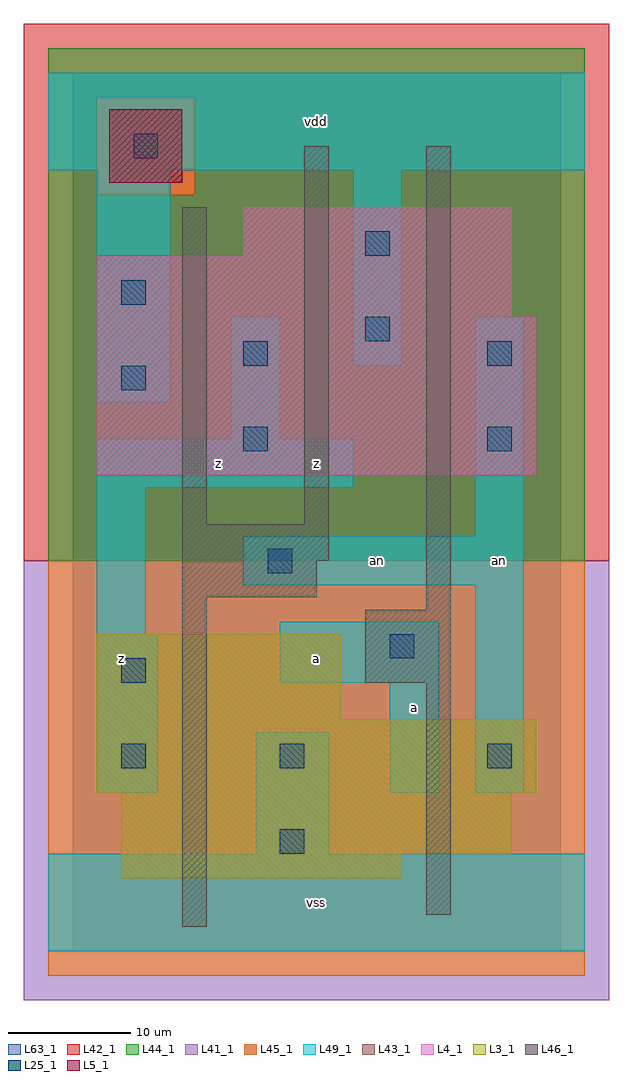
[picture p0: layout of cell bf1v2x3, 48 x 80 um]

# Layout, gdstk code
import gdstk
lib = gdstk.Library(unit=1e-6, precision=1e-09)
def R(c, l, rs):  # rectangles x0, y0, x1, y1
    for r in rs: c.add(gdstk.rectangle(r[:2], r[2:], *l))
L3_1 = (3, 1)
L4_1 = (4, 1)
L5_1 = (5, 1)
L25_1 = (25, 1)
L41_1 = (41, 1)
L42_1 = (42, 1)
L43_1 = (43, 1)
L44_1 = (44, 1)
L45_1 = (45, 1)
L46_1 = (46, 1)
L49_1 = (49, 1)
L63_1 = (63, 1)

bf1v2x3 = lib.new_cell('bf1v2x3')
R(bf1v2x3, L3_1, [(4,6,27,8), (4,8,36,13), (2,13,38,19), (2,19,22,26)])
R(bf1v2x3, L4_1, [(2,39,38,52), (2,52,36,57), (14,57,36,61)])
R(bf1v2x3, L5_1, [(3,63,9,69)])
R(bf1v2x3, L25_1, [(17,8,19,10), (4,15,6,17), (17,15,19,17), (34,15,36,17), (4,22,6,24), (26,24,28,26), (16,31,18,33), (14,41,16,43), (34,41,36,43), (4,46,6,48), (14,48,16,50), (34,48,36,50), (24,50,26,52), (4,53,6,55), (24,57,26,59), (5,65,7,67)])
R(bf1v2x3, L41_1, [(-4,-4,44,32)])
R(bf1v2x3, L42_1, [(-4,32,44,76)])
R(bf1v2x3, L43_1, [(4,6,27,8), (4,8,36,13), (2,13,38,19), (2,19,22,26), (2,39,38,52), (2,52,36,57), (14,57,36,61), (3,63,9,69)])
R(bf1v2x3, L44_1, [(-2,32,42,62), (-2,62,2,70), (10,62,42,70), (-2,70,42,74)])
R(bf1v2x3, L45_1, [(-2,-2,42,32), (2,62,10,70)])
R(bf1v2x3, L46_1, [(9,2,11,29), (29,3,31,22), (24,22,31,28), (29,28,31,66), (9,29,20,32), (9,32,21,35), (9,35,11,61), (19,35,21,66)])
R(bf1v2x3, L49_1, [(-2,0,42,8), (15,8,21,18), (2,13,7,26), (26,13,30,22), (33,13,37,30), (17,22,30,27), (2,26,6,38), (14,30,37,34), (33,34,37,52), (2,38,23,42), (13,42,17,52), (2,45,8,64), (23,48,27,64), (-2,64,42,72)])
R(bf1v2x3, L63_1, [(0,0,40,72)])
bf1v2x3.add(gdstk.Label('z', (4,24), layer=49, texttype=1))
bf1v2x3.add(gdstk.Label('z', (12,40), layer=49, texttype=1))
bf1v2x3.add(gdstk.Label('vss', (20,4), layer=49, texttype=1))
bf1v2x3.add(gdstk.Label('a', (28,20), layer=49, texttype=1))
bf1v2x3.add(gdstk.Label('a', (20,24), layer=49, texttype=1))
bf1v2x3.add(gdstk.Label('z', (20,40), layer=49, texttype=1))
bf1v2x3.add(gdstk.Label('vdd', (20,68), layer=49, texttype=1))
bf1v2x3.add(gdstk.Label('an', (25,32), layer=49, texttype=1))
bf1v2x3.add(gdstk.Label('an', (35,32), layer=49, texttype=1))

lib.write_gds('bf1v2x3.gds')
